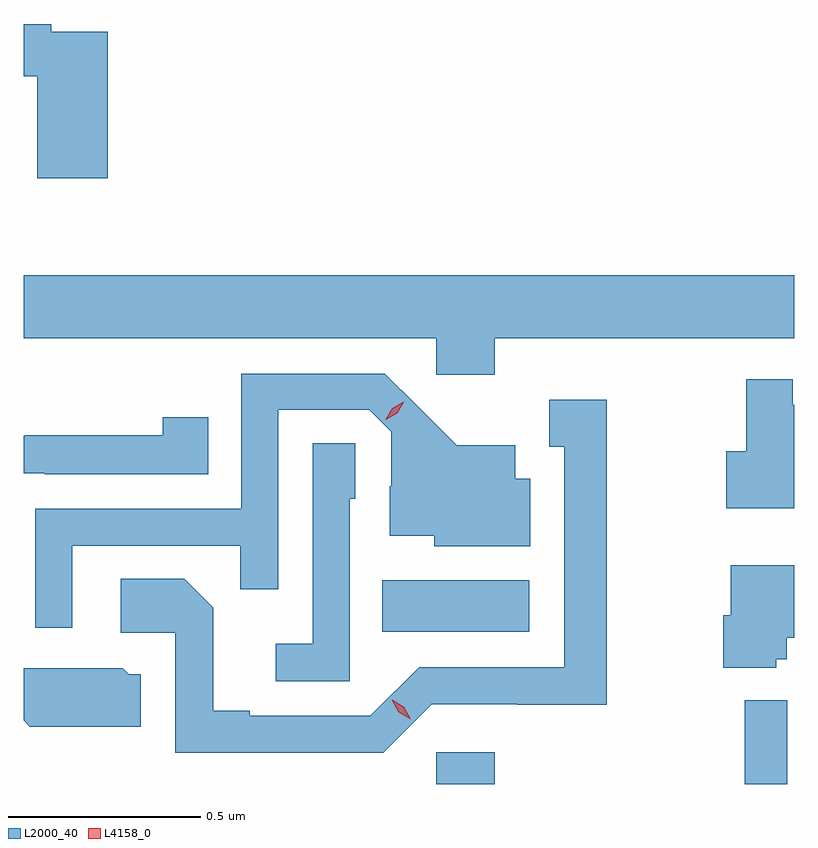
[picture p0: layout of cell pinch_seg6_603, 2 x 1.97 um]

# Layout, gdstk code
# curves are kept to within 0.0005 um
import gdstk
lib = gdstk.Library(unit=1e-6, precision=1e-09)
def R(c, l, rs):  # rectangles x0, y0, x1, y1
    for r in rs: c.add(gdstk.rectangle(r[:2], r[2:], *l))
def P(c, l, *ps):  # polygons
    for p in ps: c.add(gdstk.Polygon(p, *l))
L2000_40 = (2000, 40)
L4158_0 = (4158, 0)

pinch_seg6_603 = lib.new_cell('pinch_seg6_603')
R(pinch_seg6_603, L2000_40, [(602.376,960.831,602.528,960.913), (603.177,960.831,603.287,961.048), (602.236,961.226,602.617,961.36)])
P(pinch_seg6_603, L2000_40, [(601.523,962.784),(601.376,962.784),(601.376,962.804),(601.305,962.804),(601.305,962.668),(601.34,962.668),(601.34,962.403),(601.523,962.403)],
  [(601.305,961.988),(602.376,961.988),(602.376,961.893),(602.528,961.893),(602.528,961.988),(603.305,961.988),(603.305,962.152),(601.305,962.152)],
  [(601.431,961.449),(601.867,961.449),(601.867,961.336),(601.965,961.336),(601.965,961.803),(602.202,961.803),(602.259,961.746),(602.259,961.604),(602.255,961.604),(602.255,961.475),(602.37,961.475),(602.37,961.448),(602.62,961.448),(602.62,961.624),(602.581,961.624),(602.581,961.711),(602.429,961.711),(602.242,961.896),(601.869,961.896),(601.869,961.545),(601.335,961.545),(601.335,961.236),(601.431,961.236)],
  [(603.305,961.816),(603.301,961.816),(603.301,961.882),(603.18,961.882),(603.18,961.695),(603.128,961.695),(603.128,961.547),(603.305,961.547)],
  [(602.364,961.038),(602.586,961.038),(602.586,961.037),(602.819,961.037),(602.819,961.828),(602.669,961.828),(602.669,961.707),(602.708,961.707),(602.708,961.134),(602.331,961.134),(602.205,961.008),(601.891,961.008),(601.891,961.021),(601.797,961.021),(601.797,961.288),(601.721,961.364),(601.557,961.364),(601.557,961.224),(601.698,961.224),(601.698,960.912),(602.238,960.912)],
  [(601.784,961.783),(601.666,961.783),(601.666,961.736),(601.309,961.736),(601.309,961.735),(601.305,961.735),(601.305,961.638),(601.36,961.638),(601.36,961.635),(601.784,961.635)],
  [(602.151,961.572),(602.166,961.572),(602.166,961.715),(602.055,961.715),(602.055,961.195),(601.959,961.195),(601.959,961.098),(602.151,961.098)],
  [(603.258,961.155),(603.286,961.155),(603.286,961.211),(603.305,961.211),(603.305,961.399),(603.14,961.399),(603.14,961.269),(603.121,961.269),(603.121,961.133),(603.258,961.133)],
  [(601.609,961.116),(601.578,961.116),(601.562,961.132),(601.428,961.132),(601.428,961.131),(601.305,961.131),(601.305,960.996),(601.321,960.98),(601.609,960.98)])
P(pinch_seg6_603, L4158_0, [(602.31,960.999),(602.278,961.017),(602.26,961.05),(602.26,961.05),(602.261,961.05),(602.292,961.031),(602.31,960.999),(602.31,960.999)],
  [(602.244,961.777),(602.244,961.778),(602.261,961.807),(602.291,961.823),(602.292,961.823),(602.292,961.822),(602.275,961.793),(602.245,961.777)])

lib.write_gds('pinch_seg6_603.gds')
